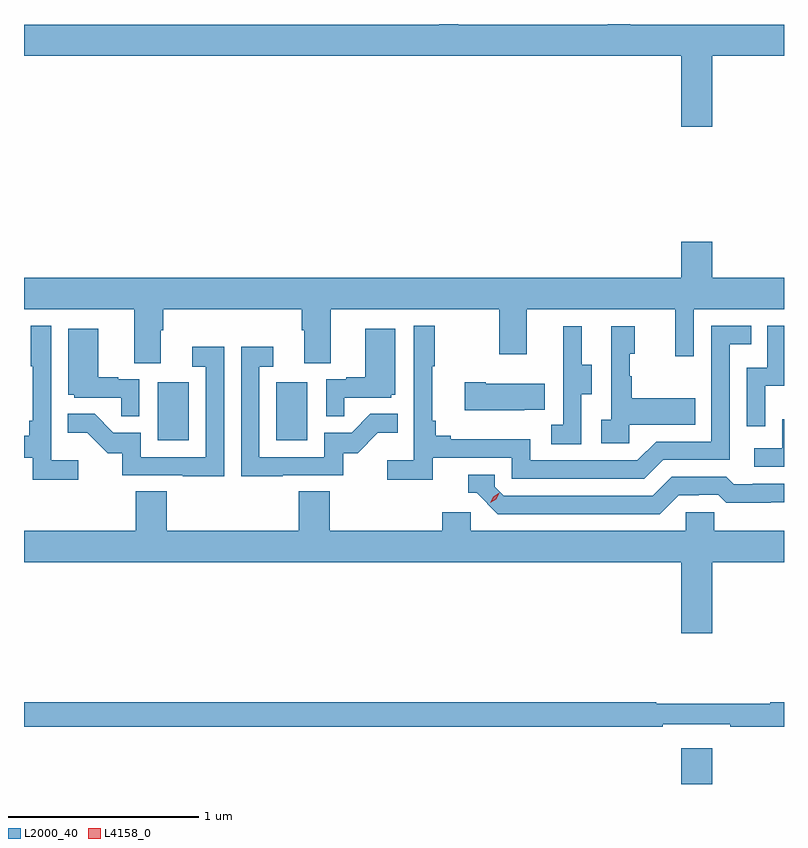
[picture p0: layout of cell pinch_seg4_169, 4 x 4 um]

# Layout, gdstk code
import gdstk
lib = gdstk.Library(unit=1e-6, precision=1e-09)
def R(c, l, rs):  # rectangles x0, y0, x1, y1
    for r in rs: c.add(gdstk.rectangle(r[:2], r[2:], *l))
def P(c, l, *ps):  # polygons
    for p in ps: c.add(gdstk.Polygon(p, *l))
L2000_40 = (2000, 40)
L4158_0 = (4158, 0)

pinch_seg4_169 = lib.new_cell('pinch_seg4_169')
R(pinch_seg4_169, L2000_40, [(1112.06,803.644,1112.224,803.833), (1109.306,805.452,1109.47,805.759), (1109.93,805.452,1110.094,805.759)])
P(pinch_seg4_169, L2000_40, [(1112.224,807.476),(1112.602,807.476),(1112.602,807.64),(1111.793,807.64),(1111.793,807.644),(1111.675,807.644),(1111.675,807.64),(1110.887,807.64),(1110.887,807.644),(1110.788,807.644),(1110.788,807.64),(1108.602,807.64),(1108.602,807.476),(1112.06,807.476),(1112.06,807.102),(1112.224,807.102)],
  [(1109.323,806.032),(1109.336,806.032),(1109.336,806.144),(1110.065,806.144),(1110.065,806.032),(1110.077,806.032),(1110.077,805.858),(1110.217,805.858),(1110.217,806.144),(1111.102,806.144),(1111.102,805.905),(1111.249,805.905),(1111.249,806.144),(1112.03,806.144),(1112.03,805.896),(1112.127,805.896),(1112.127,806.144),(1112.602,806.144),(1112.602,806.308),(1112.224,806.308),(1112.224,806.497),(1112.06,806.497),(1112.06,806.308),(1108.602,806.308),(1108.602,806.144),(1109.183,806.144),(1109.183,805.858),(1109.323,805.858)],
  [(1110.752,805.362),(1111.17,805.362),(1111.17,805.251),(1111.867,805.251),(1111.966,805.35),(1112.316,805.35),(1112.316,805.959),(1112.429,805.959),(1112.429,806.055),(1112.22,806.055),(1112.22,805.446),(1111.929,805.446),(1111.83,805.347),(1111.266,805.347),(1111.266,805.459),(1110.847,805.459),(1110.847,805.478),(1110.77,805.478),(1110.77,805.555),(1110.751,805.555),(1110.751,805.843),(1110.763,805.843),(1110.763,806.056),(1110.654,806.056),(1110.654,805.348),(1110.513,805.348),(1110.513,805.246),(1110.752,805.246)],
  [(1108.888,805.348),(1108.746,805.348),(1108.746,806.056),(1108.638,806.056),(1108.638,805.843),(1108.649,805.843),(1108.649,805.555),(1108.63,805.555),(1108.63,805.478),(1108.602,805.478),(1108.602,805.362),(1108.649,805.362),(1108.649,805.246),(1108.888,805.246)],
  [(1112.502,805.739),(1112.602,805.739),(1112.602,806.055),(1112.514,806.055),(1112.514,805.836),(1112.406,805.836),(1112.406,805.527),(1112.502,805.527)],
  [(1111.536,805.696),(1111.591,805.696),(1111.591,805.851),(1111.537,805.851),(1111.537,806.053),(1111.439,806.053),(1111.439,805.839),(1111.44,805.839),(1111.44,805.535),(1111.377,805.535),(1111.377,805.432),(1111.536,805.432)],
  [(1111.788,805.535),(1112.135,805.535),(1112.135,805.675),(1111.801,805.675),(1111.801,805.79),(1111.791,805.79),(1111.791,805.908),(1111.816,805.908),(1111.816,806.053),(1111.692,806.053),(1111.692,805.562),(1111.641,805.562),(1111.641,805.437),(1111.788,805.437)],
  [(1110.287,805.677),(1110.534,805.677),(1110.534,805.692),(1110.556,805.692),(1110.556,806.041),(1110.398,806.041),(1110.398,805.786),(1110.299,805.786),(1110.299,805.773),(1110.192,805.773),(1110.192,805.579),(1110.287,805.579)],
  [(1109.208,805.773),(1109.097,805.773),(1109.097,805.786),(1108.993,805.786),(1108.993,806.041),(1108.835,806.041),(1108.835,805.692),(1108.866,805.692),(1108.866,805.677),(1109.113,805.677),(1109.113,805.579),(1109.208,805.579)],
  [(1109.655,805.945),(1109.487,805.945),(1109.487,805.839),(1109.559,805.839),(1109.559,805.365),(1109.217,805.365),(1109.217,805.494),(1109.073,805.494),(1108.975,805.592),(1108.831,805.592),(1108.831,805.493),(1108.935,805.493),(1109.042,805.386),(1109.119,805.386),(1109.119,805.269),(1109.437,805.269),(1109.437,805.264),(1109.655,805.264)],
  [(1109.963,805.269),(1110.282,805.269),(1110.282,805.386),(1110.358,805.386),(1110.465,805.493),(1110.569,805.493),(1110.569,805.592),(1110.425,805.592),(1110.327,805.494),(1110.183,805.494),(1110.183,805.365),(1109.841,805.365),(1109.841,805.839),(1109.914,805.839),(1109.914,805.945),(1109.745,805.945),(1109.745,805.264),(1109.963,805.264)],
  [(1111.235,805.613),(1111.343,805.613),(1111.343,805.75),(1111.033,805.75),(1111.033,805.758),(1110.921,805.758),(1110.921,805.61),(1111.235,805.61)],
  [(1112.602,805.564),(1112.592,805.564),(1112.592,805.41),(1112.445,805.41),(1112.445,805.314),(1112.602,805.314)],
  [(1112.047,805.164),(1112.154,805.164),(1112.154,805.167),(1112.257,805.167),(1112.299,805.125),(1112.532,805.125),(1112.532,805.127),(1112.602,805.127),(1112.602,805.224),(1112.437,805.224),(1112.437,805.221),(1112.338,805.221),(1112.299,805.26),(1112.01,805.26),(1111.911,805.161),(1111.128,805.161),(1111.08,805.209),(1111.08,805.272),(1110.941,805.272),(1110.941,805.176),(1110.984,805.176),(1111.095,805.065),(1111.948,805.065)],
  [(1112.224,804.812),(1112.602,804.812),(1112.602,804.976),(1112.235,804.976),(1112.235,805.074),(1112.085,805.074),(1112.085,804.976),(1110.954,804.976),(1110.954,805.074),(1110.803,805.074),(1110.803,804.976),(1110.212,804.976),(1110.212,805.184),(1110.047,805.184),(1110.047,804.976),(1109.354,804.976),(1109.354,805.184),(1109.189,805.184),(1109.189,804.976),(1108.602,804.976),(1108.602,804.812),(1112.06,804.812),(1112.06,804.438),(1112.224,804.438)],
  [(1111.964,803.958),(1112.32,803.958),(1112.32,803.946),(1112.602,803.946),(1112.602,804.074),(1112.53,804.074),(1112.53,804.067),(1111.93,804.067),(1111.93,804.074),(1108.602,804.074),(1108.602,803.946),(1111.964,803.946)])
P(pinch_seg4_169, L4158_0, [(1111.056,805.123),(1111.056,805.124),(1111.073,805.156),(1111.103,805.176),(1111.104,805.176),(1111.104,805.175),(1111.088,805.143),(1111.057,805.123)])

lib.write_gds('pinch_seg4_169.gds')
